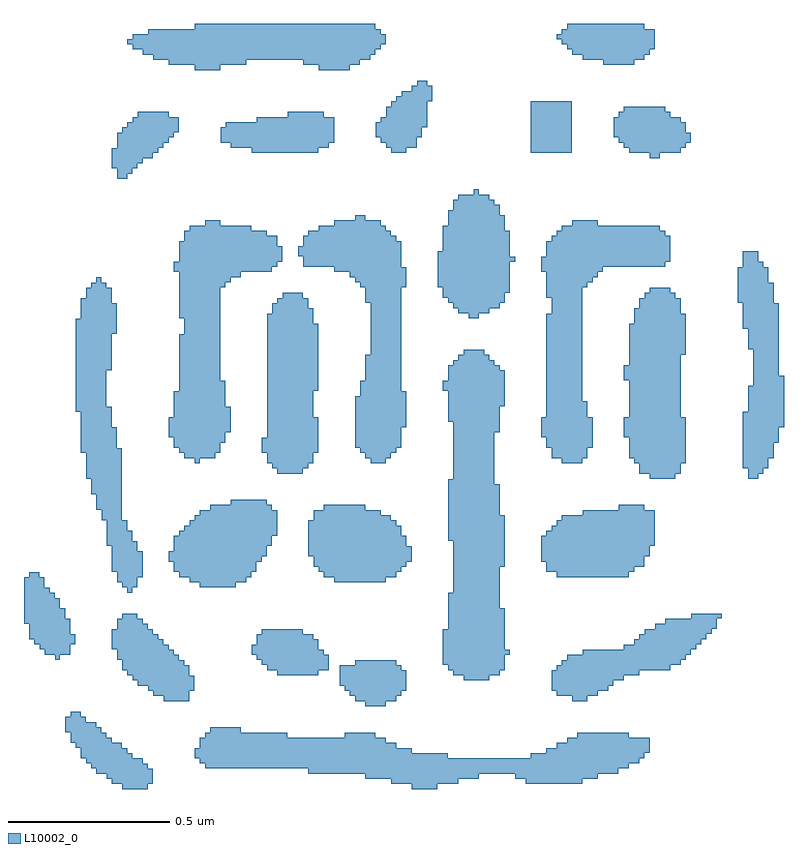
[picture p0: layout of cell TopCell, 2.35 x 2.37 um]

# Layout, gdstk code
import gdstk
lib = gdstk.Library(unit=1e-6, precision=1e-09)
def R(c, l, rs):  # rectangles x0, y0, x1, y1
    for r in rs: c.add(gdstk.rectangle(r[:2], r[2:], *l))
L10002_0 = (10002, 0)

topcell = lib.new_cell('TopCell')
R(topcell, L10002_0, [(0.912,0.704,0.927,0.831), (0.927,0.704,0.943,0.815), (0.943,0.704,0.975,0.799), (0.975,0.704,0.991,0.783), (1.808,0.704,1.887,0.815), (0.88,0.72,0.911,0.847), (0.911,0.72,0.912,0.831), (0.991,0.72,1.007,0.767), (1.744,0.72,1.759,0.847), (1.759,0.72,1.807,0.831), (1.807,0.72,1.808,0.815), (1.887,0.72,1.919,0.815), (1.919,0.72,1.951,0.799), (2.16,0.72,2.335,0.799), (0.864,0.736,0.879,0.863), (0.879,0.736,0.88,0.847), (1.664,0.736,1.695,0.879), (1.695,0.736,1.727,0.863), (1.727,0.736,1.744,0.847), (1.951,0.736,2.015,0.799), (2.128,0.736,2.16,0.799), (2.335,0.736,2.383,0.879), (0.832,0.752,0.847,0.895), (0.847,0.752,0.863,0.879), (0.863,0.752,0.864,0.863), (1.488,0.752,1.664,0.863), (2.015,0.752,2.128,0.799), (2.383,0.752,2.447,0.879), (0.816,0.768,0.831,0.911), (0.831,0.768,0.832,0.895), (1.168,0.768,1.423,0.879), (1.423,0.768,1.488,0.863), (2.447,0.768,2.479,0.879), (0.8,0.784,0.816,0.911), (1.152,0.784,1.168,0.863), (2.479,0.784,2.511,0.863), (2.176,0.799,2.335,0.815), (0.784,0.8,0.799,0.927), (0.799,0.8,0.8,0.911), (1.136,0.8,1.152,0.831), (2.511,0.8,2.527,0.863), (2.224,0.815,2.335,0.831), (2.527,0.816,2.543,0.863), (2.256,0.831,2.335,0.847), (0.768,0.832,0.783,0.943), (0.783,0.832,0.784,0.927), (2.288,0.847,2.335,0.863), (0.752,0.848,0.768,0.943), (1.6,0.863,1.664,0.879), (2.32,0.863,2.335,0.879), (1.184,0.879,1.279,0.895), (0.736,0.88,0.752,0.927), (1.664,0.96,1.727,1.103), (1.04,0.976,1.055,1.151), (1.055,0.976,1.071,1.135), (1.071,0.976,1.087,1.119), (1.087,0.976,1.103,1.103), (1.103,0.976,1.119,1.087), (1.632,0.976,1.664,1.103), (1.727,0.976,1.759,1.103), (2.304,0.976,2.351,1.119), (1.008,0.992,1.023,1.183), (1.023,0.992,1.039,1.167), (1.039,0.992,1.04,1.151), (1.616,0.992,1.632,1.087), (1.759,0.992,1.775,1.087), (2.256,0.992,2.304,1.087), (2.351,0.992,2.383,1.135), (0.992,1.008,1.007,1.199), (1.007,1.008,1.008,1.183), (1.119,1.008,1.135,1.055), (1.6,1.008,1.616,1.087), (1.775,1.008,1.791,1.071), (2.24,1.008,2.256,1.071), (2.383,1.008,2.415,1.135), (0.96,1.024,0.975,1.231), (0.975,1.024,0.991,1.215), (0.991,1.024,0.992,1.199), (1.584,1.024,1.6,1.087), (2.415,1.024,2.431,1.135), (0.944,1.04,0.959,1.247), (0.959,1.04,0.96,1.231), (1.968,1.04,2.031,2.063), (2.031,1.04,2.047,2.047), (2.431,1.04,2.463,1.135), (0.928,1.056,0.944,1.247), (1.392,1.056,1.471,1.199), (1.471,1.056,1.503,1.183), (1.503,1.056,1.519,1.167), (1.936,1.056,1.968,2.031), (2.047,1.056,2.063,2.031), (2.063,1.056,2.079,1.647), (2.463,1.056,2.511,1.135), (0.912,1.072,0.928,1.247), (1.36,1.072,1.392,1.199), (1.519,1.072,1.535,1.135), (1.535,1.072,1.551,1.119), (1.92,1.072,1.936,1.311), (2.079,1.072,2.095,1.263), (2.511,1.072,2.607,1.167), (2.272,1.087,2.304,1.103), (1.344,1.088,1.36,1.199), (1.904,1.088,1.92,1.199), (2.607,1.088,2.639,1.231), (2.288,1.103,2.304,1.119), (0.704,1.104,0.719,1.295), (0.896,1.104,0.912,1.231), (1.328,1.104,1.344,1.183), (2.639,1.104,2.655,1.231), (2.336,1.119,2.351,1.135), (0.672,1.12,0.687,1.327), (0.687,1.12,0.703,1.311), (0.703,1.12,0.704,1.295), (0.719,1.12,0.735,1.263), (0.735,1.12,0.751,1.231), (1.312,1.12,1.328,1.151), (2.095,1.12,2.111,1.135), (2.655,1.12,2.671,1.231), (2.464,1.135,2.511,1.151), (0.656,1.136,0.671,1.359), (0.671,1.136,0.672,1.327), (0.88,1.136,0.896,1.199), (2.671,1.136,2.687,1.231), (2.496,1.151,2.511,1.167), (0.64,1.152,0.655,1.375), (0.655,1.152,0.656,1.359), (0.751,1.152,0.767,1.183), (2.687,1.152,2.703,1.247), (2.512,1.167,2.607,1.183), (0.624,1.168,0.64,1.375), (2.703,1.168,2.719,1.247), (2.528,1.183,2.607,1.199), (2.719,1.184,2.735,1.247), (2.56,1.199,2.607,1.215), (2.735,1.2,2.751,1.247), (2.592,1.215,2.607,1.231), (0.608,1.216,0.624,1.359), (2.672,1.231,2.687,1.247), (2.751,1.232,2.767,1.247), (0.928,1.312,0.943,1.503), (0.912,1.328,0.927,1.535), (0.927,1.328,0.928,1.503), (0.943,1.328,0.959,1.471), (1.152,1.328,1.263,1.567), (0.896,1.344,0.911,1.759), (0.911,1.344,0.912,1.535), (1.12,1.344,1.152,1.535), (1.263,1.344,1.295,1.599), (1.568,1.344,1.663,1.583), (1.663,1.344,1.711,1.567), (1.711,1.344,1.727,1.551), (0.959,1.36,0.975,1.439), (1.088,1.36,1.12,1.503), (1.295,1.36,1.311,1.599), (1.536,1.36,1.568,1.583), (1.727,1.36,1.743,1.551), (1.743,1.36,1.759,1.535), (2.256,1.36,2.479,1.535), (0.88,1.376,0.895,1.823), (0.895,1.376,0.896,1.759), (1.072,1.376,1.088,1.487), (1.311,1.376,1.327,1.599), (1.52,1.376,1.536,1.567), (1.759,1.376,1.775,1.519), (2.224,1.376,2.256,1.503), (2.479,1.376,2.495,1.583), (1.504,1.392,1.52,1.567), (1.775,1.392,1.791,1.487), (2.079,1.392,2.095,1.551), (2.495,1.392,2.527,1.583), (1.056,1.408,1.072,1.439), (1.327,1.408,1.343,1.599), (1.791,1.408,1.807,1.455), (2.208,1.408,2.224,1.487), (1.343,1.424,1.359,1.599), (1.488,1.424,1.504,1.535), (2.527,1.424,2.543,1.567), (0.864,1.456,0.879,1.887), (0.879,1.456,0.88,1.823), (1.359,1.456,1.375,1.583), (2.543,1.456,2.559,1.567), (1.92,1.472,1.936,1.663), (1.375,1.488,1.391,1.567), (1.104,1.503,1.12,1.519), (2.24,1.503,2.256,1.519), (1.136,1.535,1.152,1.551), (2.272,1.535,2.479,1.551), (0.848,1.536,0.863,2.271), (0.863,1.536,0.864,1.887), (2.336,1.551,2.479,1.567), (1.184,1.567,1.263,1.583), (2.448,1.567,2.479,1.583), (0.832,1.568,0.847,2.287), (0.847,1.568,0.848,2.271), (1.248,1.583,1.263,1.599), (0.816,1.616,0.832,2.271), (0.8,1.664,0.816,2.255), (2.544,1.664,2.607,2.255), (2.607,1.664,2.623,2.239), (2.848,1.664,2.879,1.951), (1.392,1.68,1.471,2.223), (2.512,1.68,2.544,2.223), (2.623,1.68,2.639,2.223), (2.879,1.68,2.895,2.335), (1.376,1.696,1.392,2.207), (1.471,1.696,1.487,2.223), (2.832,1.696,2.848,1.871), (2.895,1.696,2.911,2.319), (1.136,1.712,1.151,2.447), (1.36,1.712,1.376,2.175), (1.487,1.712,1.503,2.191), (1.68,1.712,1.711,2.463), (1.711,1.712,1.727,2.447), (2.272,1.712,2.335,2.447), (2.496,1.712,2.512,2.191), (2.639,1.712,2.655,1.855), (1.104,1.728,1.136,2.431), (1.151,1.728,1.199,2.447), (1.664,1.728,1.68,2.047), (1.727,1.728,1.743,2.431), (2.24,1.728,2.272,2.415), (2.335,1.728,2.351,1.903), (2.48,1.728,2.496,2.143), (2.911,1.728,2.927,2.271), (0.784,1.744,0.8,2.223), (1.088,1.744,1.104,2.111), (1.199,1.744,1.215,2.463), (1.344,1.744,1.36,1.791), (1.503,1.744,1.519,1.855), (1.648,1.744,1.664,1.967), (1.743,1.744,1.759,2.415), (1.072,1.76,1.088,1.935), (1.632,1.76,1.648,1.919), (1.759,1.76,1.775,2.399), (2.224,1.76,2.24,2.175), (2.351,1.76,2.367,1.855), (1.215,1.776,1.231,1.967), (2.927,1.776,2.943,2.207), (1.056,1.792,1.072,1.855), (2.208,1.792,2.224,1.855), (2.464,1.792,2.48,1.855), (1.231,1.808,1.247,1.887), (2.063,1.808,2.079,2.015), (1.775,1.824,1.791,1.935), (2.943,1.824,2.959,1.983), (1.92,1.84,1.936,2.015), (0.768,1.872,0.784,2.159), (2.079,1.888,2.095,1.999), (1.503,1.936,1.519,2.143), (1.904,1.936,1.92,1.967), (2.864,1.951,2.879,2.367), (2.464,1.968,2.48,2.015), (0.863,2,0.879,2.255), (1.952,2.031,1.968,2.047), (2.639,2.048,2.655,2.175), (2.848,2.064,2.864,2.367), (0.879,2.112,0.895,2.207), (2.832,2.128,2.848,2.367), (1.088,2.16,1.104,2.399), (1.984,2.16,2.015,2.543), (1.952,2.176,1.984,2.543), (2.015,2.176,2.047,2.543), (1.936,2.192,1.952,2.527), (2.047,2.192,2.063,2.527), (2.063,2.192,2.079,2.511), (1.664,2.208,1.68,2.463), (1.92,2.208,1.936,2.495), (2.079,2.208,2.095,2.479), (2.816,2.208,2.832,2.319), (1.408,2.223,1.471,2.239), (2.528,2.223,2.544,2.239), (1.904,2.224,1.92,2.447), (2.224,2.224,2.24,2.399), (2.095,2.24,2.111,2.431), (1.215,2.256,1.231,2.447), (1.648,2.256,1.663,2.479), (1.663,2.256,1.664,2.463), (1.775,2.256,1.791,2.319), (1.888,2.256,1.904,2.367), (2.335,2.256,2.351,2.463), (1.231,2.272,1.247,2.447), (1.632,2.272,1.648,2.479), (2.351,2.272,2.367,2.463), (1.247,2.288,1.279,2.447), (1.616,2.288,1.632,2.463), (2.367,2.288,2.383,2.463), (1.072,2.304,1.088,2.335), (1.279,2.304,1.311,2.447), (1.311,2.304,1.359,2.431), (1.359,2.304,1.375,2.415), (1.568,2.304,1.616,2.463), (2.208,2.304,2.224,2.351), (2.383,2.304,2.399,2.447), (1.375,2.32,1.391,2.415), (1.472,2.32,1.568,2.415), (2.399,2.32,2.575,2.447), (2.575,2.32,2.591,2.431), (1.391,2.336,1.407,2.383), (2.111,2.336,2.127,2.351), (2.591,2.336,2.607,2.415), (1.456,2.352,1.472,2.383), (1.488,2.415,1.568,2.431), (2.256,2.415,2.272,2.431), (1.12,2.431,1.136,2.447), (1.52,2.431,1.568,2.447), (1.168,2.447,1.199,2.463), (2.304,2.447,2.335,2.463), (2,2.543,2.015,2.559), (0.896,2.592,0.927,2.735), (0.927,2.608,0.943,2.751), (0.88,2.624,0.896,2.687), (0.943,2.624,0.959,2.767), (0.959,2.64,0.975,2.783), (0.975,2.656,1.007,2.799), (2.544,2.656,2.575,2.815), (1.007,2.672,1.023,2.799), (1.312,2.672,1.519,2.767), (1.744,2.672,1.791,2.831), (2.176,2.672,2.303,2.831), (2.48,2.672,2.544,2.815), (2.575,2.672,2.591,2.815), (2.591,2.672,2.607,2.799), (2.607,2.672,2.639,2.783), (1.023,2.688,1.039,2.799), (1.248,2.688,1.312,2.767), (1.519,2.688,1.535,2.799), (1.535,2.688,1.551,2.783), (1.728,2.688,1.744,2.815), (1.791,2.688,1.823,2.863), (2.464,2.688,2.48,2.815), (2.639,2.688,2.655,2.767), (1.039,2.704,1.055,2.799), (1.216,2.704,1.248,2.751), (1.551,2.704,1.567,2.783), (1.712,2.704,1.728,2.783), (2.448,2.704,2.464,2.799), (2.655,2.704,2.671,2.735), (1.055,2.72,1.071,2.783), (1.696,2.72,1.712,2.767), (1.823,2.72,1.839,2.879), (2.432,2.72,2.448,2.783), (0.912,2.735,0.927,2.751), (1.071,2.736,1.087,2.783), (0.928,2.751,0.943,2.767), (1.232,2.751,1.248,2.767), (1.839,2.752,1.855,2.895), (0.944,2.767,0.959,2.783), (1.328,2.767,1.519,2.783), (0.96,2.783,0.975,2.799), (1.424,2.783,1.519,2.799), (1.76,2.831,1.791,2.847), (1.855,2.832,1.871,2.879), (1.776,2.847,1.791,2.863), (1.808,2.863,1.823,2.879), (1.824,2.879,1.839,2.895), (1.136,2.928,1.215,3.071), (1.52,2.928,1.615,3.071), (1.056,2.944,1.136,3.055), (1.215,2.944,1.295,3.071), (1.472,2.944,1.52,3.071), (1.615,2.944,1.647,3.071), (2.4,2.944,2.495,3.071), (1.008,2.96,1.056,3.055), (1.295,2.96,1.472,3.071), (1.647,2.96,1.679,3.071), (2.336,2.96,2.4,3.071), (2.495,2.96,2.527,3.071), (0.976,2.976,1.008,3.039), (1.679,2.976,1.695,3.071), (2.304,2.976,2.336,3.071), (2.527,2.976,2.543,3.055), (0.944,2.992,0.976,3.039), (1.695,2.992,1.711,3.055), (2.288,2.992,2.304,3.071), (2.543,2.992,2.559,3.055), (0.928,3.008,0.944,3.023), (1.711,3.008,1.727,3.039), (2.272,3.008,2.288,3.055), (2.256,3.024,2.272,3.039), (0.992,3.039,1.008,3.055)])

lib.write_gds('TopCell.gds')
